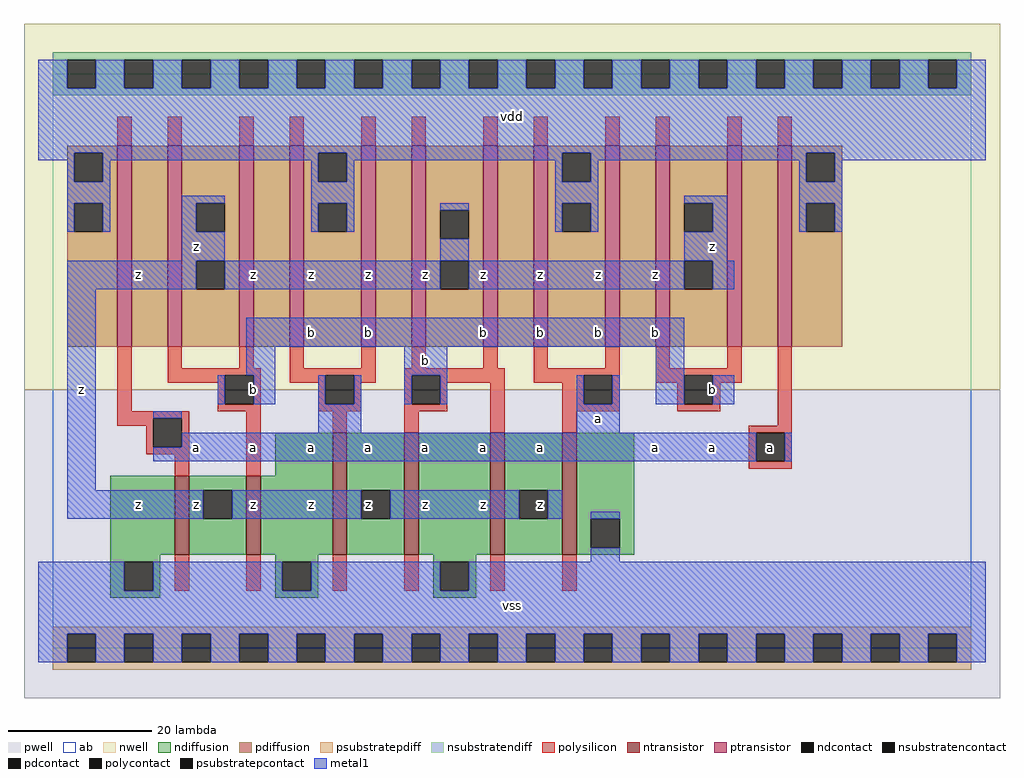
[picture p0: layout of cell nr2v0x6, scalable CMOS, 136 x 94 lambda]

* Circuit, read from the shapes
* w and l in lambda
.subckt nr2v0x6 a b vdd vss z
M1 z a vss vss nfet w=11 l=2
M2 vss b z vss nfet w=11 l=2
M3 z a vss vss nfet w=17 l=2 m=2
M4 vss b z vss nfet w=17 l=2 m=2
M5 n1 a vdd vdd pfet w=28 l=2
M6 z b n1 vdd pfet w=28 l=2
M7 n2 b z vdd pfet w=28 l=2
M8 vdd a n2 vdd pfet w=28 l=2
M9 n3 a vdd vdd pfet w=28 l=2
M10 z b n3 vdd pfet w=28 l=2
M11 n4 b z vdd pfet w=28 l=2
M12 vdd a n4 vdd pfet w=28 l=2
M13 n5 a vdd vdd pfet w=28 l=2
M14 z b n5 vdd pfet w=28 l=2
M15 n6 b z vdd pfet w=28 l=2
M16 vdd a n6 vdd pfet w=28 l=2
.ends

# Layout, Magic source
magic
tech scmos
<< ab >>
rect 0 0 128 80
<< pwell >>
rect -4 -7 132 36
<< nwell >>
rect -4 36 132 87
<< polysilicon >>
rect 9 70 11 74
rect 16 70 18 74
rect 26 70 28 74
rect 33 70 35 74
rect 43 70 45 74
rect 50 70 52 74
rect 60 70 62 74
rect 67 70 69 74
rect 77 70 79 74
rect 84 70 86 74
rect 94 70 96 74
rect 101 70 103 74
rect 9 33 11 42
rect 16 39 18 42
rect 26 39 28 42
rect 33 39 35 42
rect 43 39 45 42
rect 50 39 52 42
rect 60 39 62 42
rect 67 39 69 42
rect 77 39 79 42
rect 16 38 29 39
rect 16 37 24 38
rect 23 34 24 37
rect 28 34 29 38
rect 33 38 45 39
rect 33 37 38 38
rect 23 33 29 34
rect 37 34 38 37
rect 42 37 45 38
rect 49 38 63 39
rect 42 34 43 37
rect 37 33 43 34
rect 49 34 50 38
rect 54 37 63 38
rect 67 38 79 39
rect 67 37 74 38
rect 54 34 55 37
rect 49 33 55 34
rect 9 32 19 33
rect 9 31 14 32
rect 13 28 14 31
rect 18 28 19 32
rect 13 27 19 28
rect 17 24 19 27
rect 27 24 29 33
rect 39 30 41 33
rect 49 30 51 33
rect 61 30 63 37
rect 71 34 74 37
rect 78 34 79 38
rect 84 39 86 42
rect 94 39 96 42
rect 84 38 96 39
rect 84 37 88 38
rect 71 33 79 34
rect 87 34 88 37
rect 92 37 96 38
rect 92 34 93 37
rect 87 33 93 34
rect 71 30 73 33
rect 101 31 103 42
rect 97 30 103 31
rect 97 26 98 30
rect 102 26 103 30
rect 97 25 103 26
rect 17 8 19 13
rect 27 8 29 13
rect 39 8 41 13
rect 49 8 51 13
rect 61 8 63 13
rect 71 8 73 13
<< ndiffusion >>
rect 31 24 39 30
rect 8 13 17 24
rect 19 22 27 24
rect 19 18 21 22
rect 25 18 27 22
rect 19 13 27 18
rect 29 13 39 24
rect 41 22 49 30
rect 41 18 43 22
rect 47 18 49 22
rect 41 13 49 18
rect 51 13 61 30
rect 63 22 71 30
rect 63 18 65 22
rect 69 18 71 22
rect 63 13 71 18
rect 73 18 81 30
rect 73 14 75 18
rect 79 14 81 18
rect 73 13 81 14
rect 8 12 15 13
rect 8 8 10 12
rect 14 8 15 12
rect 31 12 37 13
rect 31 8 32 12
rect 36 8 37 12
rect 53 12 59 13
rect 53 8 54 12
rect 58 8 59 12
rect 8 7 15 8
rect 31 7 37 8
rect 53 7 59 8
<< pdiffusion >>
rect 2 69 9 70
rect 2 65 3 69
rect 7 65 9 69
rect 2 62 9 65
rect 2 58 3 62
rect 7 58 9 62
rect 2 42 9 58
rect 11 42 16 70
rect 18 62 26 70
rect 18 58 20 62
rect 24 58 26 62
rect 18 54 26 58
rect 18 50 20 54
rect 24 50 26 54
rect 18 42 26 50
rect 28 42 33 70
rect 35 69 43 70
rect 35 65 37 69
rect 41 65 43 69
rect 35 62 43 65
rect 35 58 37 62
rect 41 58 43 62
rect 35 42 43 58
rect 45 42 50 70
rect 52 61 60 70
rect 52 57 54 61
rect 58 57 60 61
rect 52 54 60 57
rect 52 50 54 54
rect 58 50 60 54
rect 52 42 60 50
rect 62 42 67 70
rect 69 69 77 70
rect 69 65 71 69
rect 75 65 77 69
rect 69 62 77 65
rect 69 58 71 62
rect 75 58 77 62
rect 69 42 77 58
rect 79 42 84 70
rect 86 62 94 70
rect 86 58 88 62
rect 92 58 94 62
rect 86 54 94 58
rect 86 50 88 54
rect 92 50 94 54
rect 86 42 94 50
rect 96 42 101 70
rect 103 69 110 70
rect 103 65 105 69
rect 109 65 110 69
rect 103 62 110 65
rect 103 58 105 62
rect 109 58 110 62
rect 103 42 110 58
<< metal1 >>
rect -2 78 2 82
rect 6 78 10 82
rect 14 78 18 82
rect 22 78 26 82
rect 30 78 34 82
rect 38 78 42 82
rect 46 78 50 82
rect 54 78 58 82
rect 62 78 66 82
rect 70 78 74 82
rect 78 78 82 82
rect 86 78 90 82
rect 94 78 98 82
rect 102 78 106 82
rect 110 78 114 82
rect 118 78 122 82
rect 126 78 130 82
rect -2 69 130 78
rect -2 68 3 69
rect 2 65 3 68
rect 7 68 37 69
rect 7 65 8 68
rect 2 62 8 65
rect 36 65 37 68
rect 41 68 71 69
rect 41 65 42 68
rect 2 58 3 62
rect 7 58 8 62
rect 18 62 24 63
rect 18 58 20 62
rect 36 62 42 65
rect 70 65 71 68
rect 75 68 105 69
rect 75 65 76 68
rect 70 62 76 65
rect 104 65 105 68
rect 109 68 130 69
rect 109 65 110 68
rect 36 58 37 62
rect 41 58 42 62
rect 54 61 58 62
rect 18 54 24 58
rect 70 58 71 62
rect 75 58 76 62
rect 88 62 94 63
rect 92 58 94 62
rect 104 62 110 65
rect 104 58 105 62
rect 109 58 110 62
rect 54 54 58 57
rect 88 54 94 58
rect 2 50 20 54
rect 24 50 54 54
rect 58 50 88 54
rect 92 50 95 54
rect 2 22 6 50
rect 27 42 88 46
rect 27 38 31 42
rect 49 38 55 42
rect 23 34 24 38
rect 28 34 31 38
rect 37 34 38 38
rect 42 34 43 38
rect 49 34 50 38
rect 54 34 55 38
rect 73 34 74 38
rect 78 34 79 38
rect 84 34 88 42
rect 92 34 95 38
rect 14 32 18 33
rect 37 30 43 34
rect 73 30 79 34
rect 18 28 98 30
rect 14 26 98 28
rect 102 26 103 30
rect 2 18 21 22
rect 25 18 43 22
rect 47 18 65 22
rect 69 18 71 22
rect 75 18 79 19
rect 75 12 79 14
rect -2 8 10 12
rect 14 8 32 12
rect 36 8 54 12
rect 58 8 130 12
rect -2 2 130 8
rect -2 -2 2 2
rect 6 -2 10 2
rect 14 -2 18 2
rect 22 -2 26 2
rect 30 -2 34 2
rect 38 -2 42 2
rect 46 -2 50 2
rect 54 -2 58 2
rect 62 -2 66 2
rect 70 -2 74 2
rect 78 -2 82 2
rect 86 -2 90 2
rect 94 -2 98 2
rect 102 -2 106 2
rect 110 -2 114 2
rect 118 -2 122 2
rect 126 -2 130 2
<< ntransistor >>
rect 17 13 19 24
rect 27 13 29 24
rect 39 13 41 30
rect 49 13 51 30
rect 61 13 63 30
rect 71 13 73 30
<< ptransistor >>
rect 9 42 11 70
rect 16 42 18 70
rect 26 42 28 70
rect 33 42 35 70
rect 43 42 45 70
rect 50 42 52 70
rect 60 42 62 70
rect 67 42 69 70
rect 77 42 79 70
rect 84 42 86 70
rect 94 42 96 70
rect 101 42 103 70
<< polycontact >>
rect 24 34 28 38
rect 38 34 42 38
rect 50 34 54 38
rect 14 28 18 32
rect 74 34 78 38
rect 88 34 92 38
rect 98 26 102 30
<< ndcontact >>
rect 21 18 25 22
rect 43 18 47 22
rect 65 18 69 22
rect 75 14 79 18
rect 10 8 14 12
rect 32 8 36 12
rect 54 8 58 12
<< pdcontact >>
rect 3 65 7 69
rect 3 58 7 62
rect 20 58 24 62
rect 20 50 24 54
rect 37 65 41 69
rect 37 58 41 62
rect 54 57 58 61
rect 54 50 58 54
rect 71 65 75 69
rect 71 58 75 62
rect 88 58 92 62
rect 88 50 92 54
rect 105 65 109 69
rect 105 58 109 62
<< psubstratepcontact >>
rect 2 -2 6 2
rect 10 -2 14 2
rect 18 -2 22 2
rect 26 -2 30 2
rect 34 -2 38 2
rect 42 -2 46 2
rect 50 -2 54 2
rect 58 -2 62 2
rect 66 -2 70 2
rect 74 -2 78 2
rect 82 -2 86 2
rect 90 -2 94 2
rect 98 -2 102 2
rect 106 -2 110 2
rect 114 -2 118 2
rect 122 -2 126 2
<< nsubstratencontact >>
rect 2 78 6 82
rect 10 78 14 82
rect 18 78 22 82
rect 26 78 30 82
rect 34 78 38 82
rect 42 78 46 82
rect 50 78 54 82
rect 58 78 62 82
rect 66 78 70 82
rect 74 78 78 82
rect 82 78 86 82
rect 90 78 94 82
rect 98 78 102 82
rect 106 78 110 82
rect 114 78 118 82
rect 122 78 126 82
<< psubstratepdiff >>
rect 0 2 128 3
rect 0 -2 2 2
rect 6 -2 10 2
rect 14 -2 18 2
rect 22 -2 26 2
rect 30 -2 34 2
rect 38 -2 42 2
rect 46 -2 50 2
rect 54 -2 58 2
rect 62 -2 66 2
rect 70 -2 74 2
rect 78 -2 82 2
rect 86 -2 90 2
rect 94 -2 98 2
rect 102 -2 106 2
rect 110 -2 114 2
rect 118 -2 122 2
rect 126 -2 128 2
rect 0 -3 128 -2
<< nsubstratendiff >>
rect 0 82 128 83
rect 0 78 2 82
rect 6 78 10 82
rect 14 78 18 82
rect 22 78 26 82
rect 30 78 34 82
rect 38 78 42 82
rect 46 78 50 82
rect 54 78 58 82
rect 62 78 66 82
rect 70 78 74 82
rect 78 78 82 82
rect 86 78 90 82
rect 94 78 98 82
rect 102 78 106 82
rect 110 78 114 82
rect 118 78 122 82
rect 126 78 128 82
rect 0 77 128 78
<< labels >>
rlabel metal1 12 20 12 20 6 z
rlabel metal1 20 20 20 20 6 z
rlabel metal1 20 28 20 28 6 a
rlabel metal1 4 36 4 36 6 z
rlabel metal1 12 52 12 52 6 z
rlabel metal1 20 56 20 56 6 z
rlabel metal1 28 20 28 20 6 z
rlabel metal1 28 28 28 28 6 a
rlabel metal1 36 20 36 20 6 z
rlabel metal1 36 28 36 28 6 a
rlabel ndcontact 44 20 44 20 6 z
rlabel metal1 44 28 44 28 6 a
rlabel metal1 28 36 28 36 6 b
rlabel metal1 36 44 36 44 6 b
rlabel metal1 44 44 44 44 6 b
rlabel metal1 28 52 28 52 6 z
rlabel metal1 36 52 36 52 6 z
rlabel metal1 44 52 44 52 6 z
rlabel metal1 64 6 64 6 6 vss
rlabel metal1 52 20 52 20 6 z
rlabel metal1 52 28 52 28 6 a
rlabel metal1 60 20 60 20 6 z
rlabel metal1 60 28 60 28 6 a
rlabel ndcontact 68 20 68 20 6 z
rlabel metal1 68 28 68 28 6 a
rlabel metal1 52 40 52 40 6 b
rlabel metal1 60 44 60 44 6 b
rlabel metal1 68 44 68 44 6 b
rlabel metal1 60 52 60 52 6 z
rlabel metal1 68 52 68 52 6 z
rlabel metal1 52 52 52 52 6 z
rlabel metal1 64 74 64 74 6 vdd
rlabel polycontact 100 28 100 28 6 a
rlabel metal1 84 28 84 28 6 a
rlabel metal1 92 28 92 28 6 a
rlabel metal1 76 32 76 32 6 a
rlabel metal1 76 44 76 44 6 b
rlabel metal1 84 44 84 44 6 b
rlabel metal1 92 36 92 36 6 b
rlabel metal1 84 52 84 52 6 z
rlabel metal1 76 52 76 52 6 z
rlabel metal1 92 56 92 56 6 z
<< end >>
